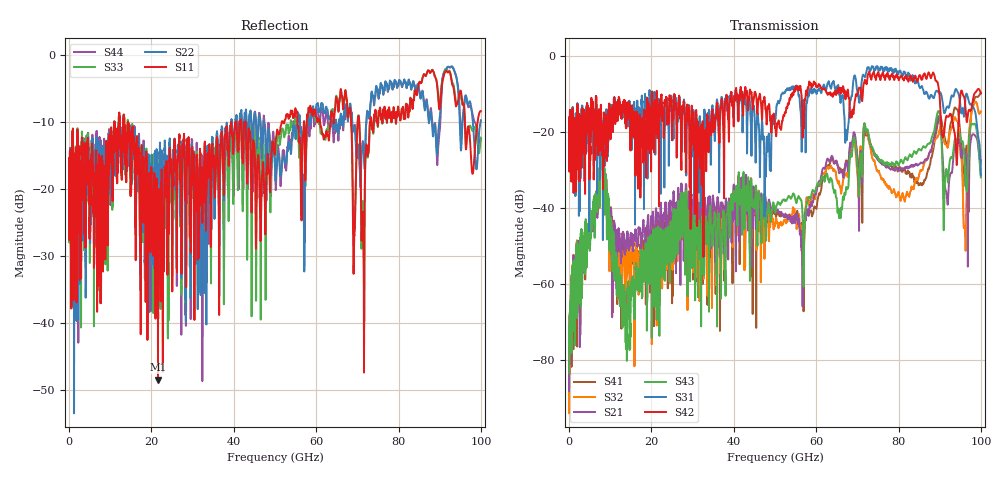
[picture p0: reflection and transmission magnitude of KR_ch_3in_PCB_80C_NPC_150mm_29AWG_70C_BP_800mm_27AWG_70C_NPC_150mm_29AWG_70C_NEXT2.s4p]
# GHz S RI R 45
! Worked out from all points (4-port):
!   4000 points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, 25 MHz to 100 GHz, reference 45 ohm
!   strongest paths, dB at 25 MHz, 25.02 GHz, 50.02 GHz, 75.03 GHz, 100 GHz:
!     S42: -21.8, -20.6, -18.8, -4.2, -9.7
!     S31: -21.7, -16.7, -16.6, -3.1, -31.3
!     S43: -83.3, -51.2, -40.5, -26.4, -31.8
!     S21: -81.0, -46.8, -40.4, -27.2, -27.3
!     S32: -83.1, -50.8, -44.7, -30.4, -14.5
!     S41: -88.0, -65.0, -41.2, -27.1, -9.7
!   lowest |S11| = -48.4 dB at 21.6 GHz (marker M1), VSWR 1.01, Z = 44.7 - j0.165 ohm
!   |S11| at or under -10 dB: start of sweep to 11 GHz; 14.35 GHz to 39.33 GHz (24.98 GHz wide, 93.1 % of centre); 42.86 GHz to 51.61 GHz (8.748 GHz wide, 18.5 % of centre) (the widest 3 of 32)
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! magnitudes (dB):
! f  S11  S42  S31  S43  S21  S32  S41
! 25 MHz  -17.2  -21.8  -21.7  -83.3  -81.0  -83.1  -88.0
! 8.025 GHz  -16.4  -26.0  -22.9  -25.7  -26.4  -26.4  -26.0
! 13.65 GHz  -12.9  -15.0  -14.1  -70.6  -50.5  -58.5  -53.8
! 21.6 GHz  -48.4  -14.4  -20.0  -45.9  -43.5  -46.6  -44.5
! 71.95 GHz  -15.3  -6.5  -5.3  -18.9  -19.4  -18.7  -20.0
! 96.1 GHz  -9.6  -11.6  -13.3  -28.6  -24.7  -44.8  -27.3
! 100 GHz  -8.3  -9.7  -31.3  -31.8  -27.3  -14.5  -9.7
